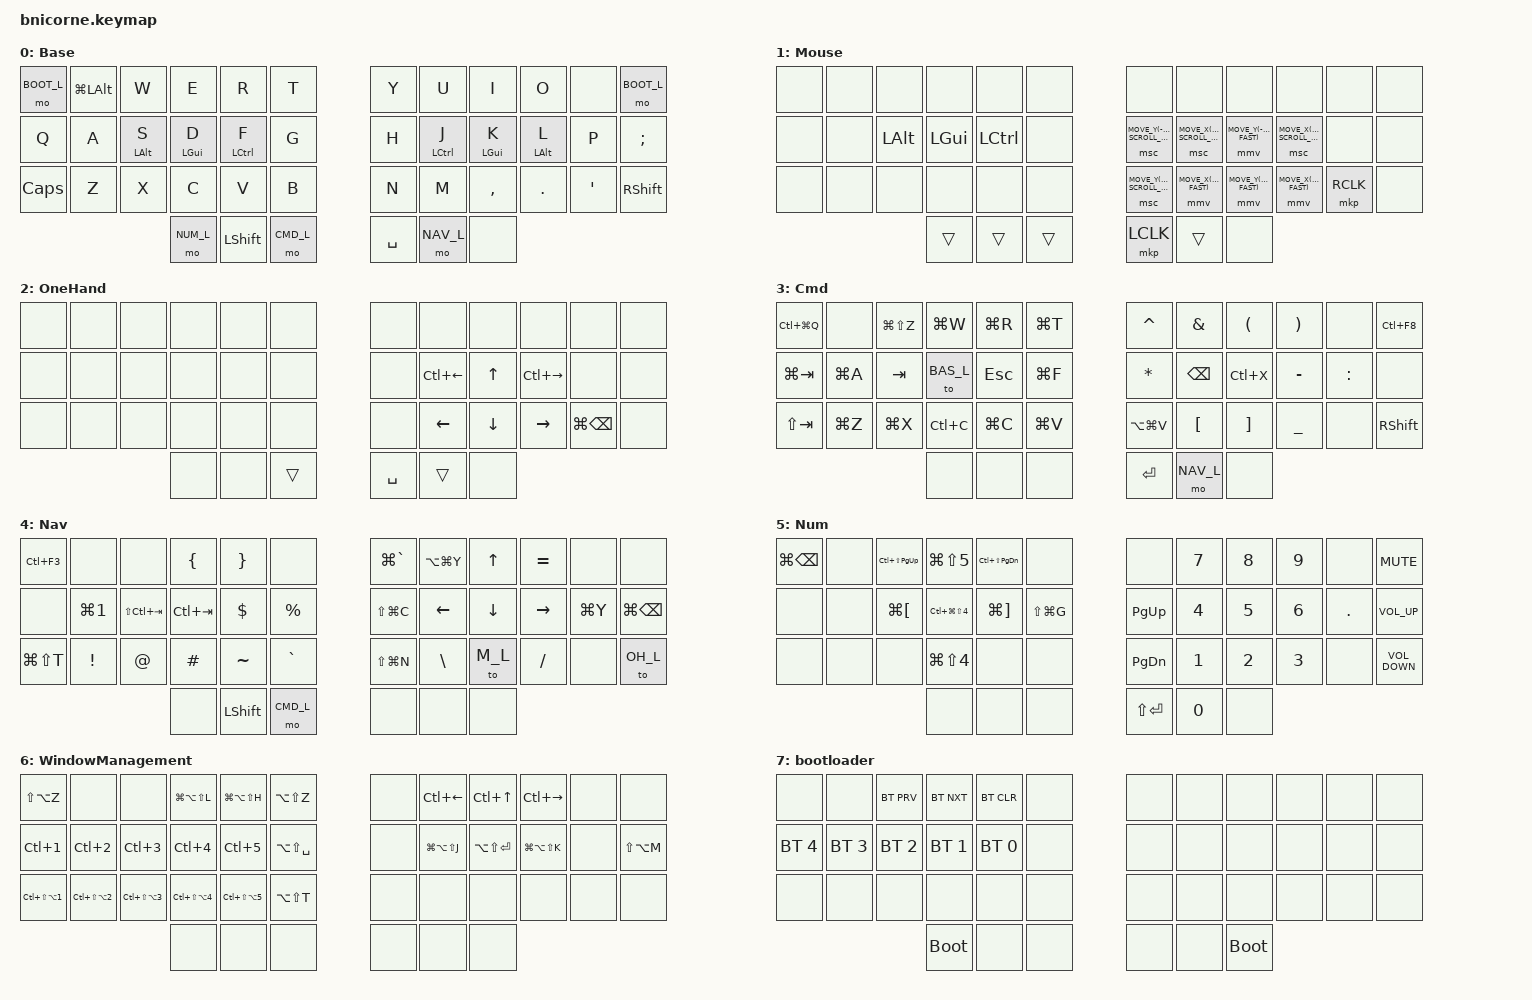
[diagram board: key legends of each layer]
/*
 * Copyright (c) 2020 The ZMK Contributors
 *
 * SPDX-License-Identifier: MIT
 */

#include <behaviors.dtsi>
#include <dt-bindings/zmk/keys.h>
#include <dt-bindings/zmk/bt.h>
#include <dt-bindings/zmk/pointing.h>

#define BAS_L 0
#define M_L 1
#define OH_L 2
#define CMD_L 3
#define NAV_L 4
#define NUM_L 5
#define WIN_L 6
#define BOOT_L 7

#define ZMK_POINTING_DEFAULT_MOVE_VAL 100  // default: 600
#define ZMK_POINTING_DEFAULT_SCRL_VAL 10    // default: 10
#define MOUSE_FAST 800 // 1000 seems file, now try smaller to see if better
#define MOUSE_SLOW 120
#define MOUSE_SCROLL_SPEED 40
#define MOUSE_TAPPING_TERM 180

/ {

        behaviors {
          ht_hp: holdtap_tapreferred {
              compatible = "zmk,behavior-hold-tap";
              label = "HOMEROW_MODS";
              #binding-cells = <2>;
              tapping-term-ms = <400>;
              flavor = "tap-preferred";
              bindings = <&kp>, <&kp>;
          };
          mmv {
              trigger-period-ms = <16>;      // ≈ MOUSEKEY_INTERVAL 16
              delay-ms = <20>;                // ≈ MOUSEKEY_DELAY 0
              time-to-max-speed-ms = <10000>;  // smoother than QMK’s 40ms steps
              acceleration-exponent = <1>;
          };
        };

        conditional_layers {
          compatible = "zmk,conditional-layers";
          tri_layer {
                if-layers = <CMD_L NAV_L>;
                then-layer = <WIN_L>;
          };
        };

        keymap {
                compatible = "zmk,keymap";
                base_layer {
                    label = "Base";
                    bindings = <
        &mo BOOT_L  &kp LG(LALT)  &kp W           &kp E         &kp R           &kp T   &kp Y   &kp U           &kp I &kp O         &none   &mo BOOT_L
        &kp Q       &kp A         &ht_hp LALT S   &ht_hp LGUI D &ht_hp LCTRL F  &kp G   &kp H   &ht_hp LCTRL J  &ht_hp LGUI K &ht_hp LALT L &kp P   &kp SEMI
        &kp CAPS    &kp Z         &kp X           &kp C         &kp V           &kp B   &kp N   &kp M           &kp COMMA     &kp DOT       &kp SQT &kp RSHIFT
        &mo NUM_L &kp LSHFT &mo CMD_L &kp SPACE &mo NAV_L &none
                    >;
                };
            mouse_layer {
              label = "Mouse";
              bindings = <

        &none &none   &none   &none   &none     &none   &none           &none           &none           &none             &none         &none
        &none &none   &kp LALT   &kp LGUI   &kp LCTRL     &none   &msc MOVE_Y(-MOUSE_SCROLL_SPEED)  &msc MOVE_X(MOUSE_SCROLL_SPEED) &mmv MOVE_Y(-MOUSE_FAST)    &msc MOVE_X(-MOUSE_SCROLL_SPEED)    &none         &none
        &none &none   &none   &none   &none     &none  &msc MOVE_Y(MOUSE_SCROLL_SPEED) &mmv MOVE_X(-MOUSE_FAST) &mmv MOVE_Y(MOUSE_FAST)  &mmv MOVE_X(MOUSE_FAST) &mkp RCLK     &none
        &trans  &trans  &trans  &mkp LCLK &trans  &none
                    >;
            };
            one_hand_layer {
              label = "OneHand";
              bindings = <
        &none &none &none &none   &none     &none   &none &none         &none     &none         &none         &none
        &none &none &none &none   &none     &none   &none &kp LC(LEFT)  &kp UP    &kp LC(RIGHT) &none         &none
        &none &none &none &none   &none     &none   &none &kp LEFT      &kp DOWN  &kp RIGHT     &kp LG(BSPC)  &none
        &none &none &trans  &kp SPACE &trans  &none
                    >;
            };
                left_cmd_layer {
                    label = "Cmd";
                    bindings = <
        &kp LC(LG(Q)) &none     &kp LG(LS(Z)) &kp LG(W) &kp LG(R) &kp LG(T) &kp CARET     &kp AMPS &kp LPAR  &kp RPAR  &none &kp LC(F8)
        &kp LG(TAB)   &kp LG(A) &kp TAB       &to BAS_L &kp ESC   &kp LG(F) &kp ASTRK     &kp BSPC &kp LC(X) &kp MINUS &kp COLON &none
        &kp LS(TAB)   &kp LG(Z) &kp LG(X)     &kp LC(C) &kp LG(C) &kp LG(V) &kp LA(LG(V)) &kp LBKT &kp RBKT  &kp UNDER &none   &kp RSHIFT
        &none &none &none &kp ENTER &mo NAV_L &none
                    >;
                };

                right_nav_layer {
                    label = "Nav";
                    bindings = <
        &kp LC(F3)      &none       &none           &kp LBRC    &kp RBRC   &none     &kp LG(GRAVE) &kp LA(LG(Y))  &kp UP    &kp EQUAL &none     &none
        &none           &kp LG(N1)  &kp LS(LC(TAB)) &kp LC(TAB) &kp DOLLAR &kp PRCNT &kp LS(LG(C)) &kp LEFT       &kp DOWN  &kp RIGHT &kp LG(Y) &kp LG(BSPC)
        &kp LG(LS(T))   &kp EXCL    &kp AT          &kp HASH    &kp TILDE  &kp GRAVE &kp LS(LG(N)) &kp BSLH       &to M_L   &kp SLASH &none     &to OH_L
        &none &kp LSHFT &mo CMD_L &none &none &none
                    >;
                };

                left_num_layer {
                    label = "Num";
                    bindings = <
        &kp LG(BSPC)  &none  &kp LC(LS(PG_UP))  &kp LG(LS(N5))      &kp LC(LS(PG_DN)) &none         &none       &kp N7 &kp N8 &kp N9  &none   &kp K_MUTE
        &none         &none  &kp LG(LBKT)       &kp LC(LG(LS(N4)))  &kp LG(RBKT)      &kp LS(LG(G)) &kp PG_UP   &kp N4 &kp N5 &kp N6  &kp DOT &kp K_VOLUME_UP
        &none         &none  &none              &kp LG(LS(N4))      &none             &none         &kp PG_DN   &kp N1 &kp N2 &kp N3  &none   &kp K_VOLUME_DOWN
        &none                    &none          &none              &kp LS(ENTER)   &kp N0 &none
                    >;
                };
                window_layer {
                    label = "WindowManagement";
                    bindings = <
        &kp LS(LA(Z))       &none               &none               &kp LG(LA(LS(L)))       &kp LG(LA(LS(H)))       &kp LA(LS(Z))             &none &kp LC(LEFT)  &kp LC(UP)        &kp LC(RIGHT)   &none  &none
        &kp LC(N1)          &kp LC(N2)          &kp LC(N3)          &kp LC(N4)          &kp LC(N5)          &kp LA(LS(SPACE))
        &none &kp LG(LA(LS(J))) &kp LA(LS(ENTER)) &kp LG(LA(LS(K)))   &none  &kp LS(LA(M))
        &kp LC(LS(LA(N1)))  &kp LC(LS(LA(N2)))  &kp LC(LS(LA(N3)))  &kp LC(LS(LA(N4)))  &kp LC(LS(LA(N5)))  &kp LA(LS(T))     &none &none         &none             &none           &none  &none
        &none &none &none &none &none &none
                    >;
                };
                boot_layer {
                    label = "bootloader";
                    bindings = <
                        &none         &none         &bt BT_PRV    &bt BT_NXT    &bt BT_CLR    &none &none &none &none &none &none &none
                        &bt BT_SEL 4  &bt BT_SEL 3  &bt BT_SEL 2  &bt BT_SEL 1  &bt BT_SEL 0  &none &none &none &none &none &none &none
                        &none &none &none &none &none &none &none &none &none &none &none &none
                                    &bootloader &none &none &none &none &bootloader
                    >;
                };
        };
};
